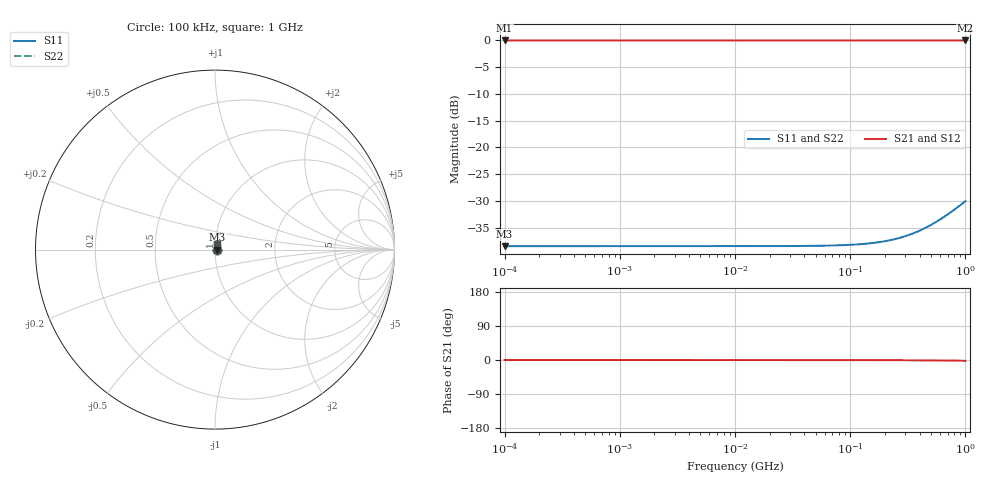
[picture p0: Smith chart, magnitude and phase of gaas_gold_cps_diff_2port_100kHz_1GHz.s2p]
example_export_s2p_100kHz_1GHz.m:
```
% Export differential 2-port S-parameters (.s2p) using txlineRLCGLine.
% Frequency range: 100 kHz .. 1 GHz (logspace).
% Assumptions:
%   - Cpul and Lpul constant with frequency
%   - Gpul = 0
%   - Rpul(f) from skin-depth / penetration model
%   - Port reference impedance Z0 = 100 Ohm (differential)

clear; clc;

% Geometry [m]
s = 20e-6;
t_au = 1e-6;
inner_gap = 50e-6;
g = inner_gap / 2;
h = 1e-6;
lineLength = 1e-3; % [m]

% Materials
eps_r_gaas = 12.9;
sigma_au = 4.10e7; % [S/m]

% Frequency sweep
fmin = 100e3;
fmax = 1e9;
Nfreq = 10000;
freq = logspace(log10(fmin), log10(fmax), Nfreq);

% Make root routines visible
this_file = mfilename('fullpath');
this_dir = fileparts(this_file);
repo_root = fileparts(fileparts(this_dir));
addpath(repo_root);

% Quasi-static C and L (constant over frequency)
qs = cps_single_layer_params(s, g, h, eps_r_gaas);
Cpul = qs.C_F_per_m;
Lpul = qs.Z_Ohm^2 * Cpul;

% Frequency-dependent differential Rpul (1xN)
rac = cps_rpul_matrix_skin(freq, s, t_au, sigma_au);
Rpul = rac.Rpul_Ohm_per_m;

% Export Touchstone
outfile = fullfile(this_dir, 'gaas_gold_cps_diff_2port_100kHz_1GHz.s2p');
out = cps_export_s2p_txlineRLCGLine(outfile, fmin, fmax, Nfreq, lineLength, Cpul, Lpul, Rpul, 0);

% Plot
S = out.S2;
S11_dB = 20 * log10(abs(squeeze(S(1, 1, :))));
S21_dB = 20 * log10(abs(squeeze(S(2, 1, :))));

fig = figure('Visible', 'off');
semilogx(freq, S11_dB, 'LineWidth', 1.3); hold on;
semilogx(freq, S21_dB, 'LineWidth', 1.3);
grid on;
xlabel('Frequency [Hz]');
ylabel('Magnitude [dB]');
title('Differential CPS S-parameters (100 kHz .. 1 GHz, Z0 = 100 Ohm)');
legend('|S11|', '|S21|', 'Location', 'best');

plotfile = fullfile(this_dir, 'gaas_gold_cps_diff_2port_100kHz_1GHz_plot.png');
exportgraphics(fig, plotfile, 'Resolution', 180);
close(fig);

fprintf('Touchstone file written:\n%s\n', out.filename);
fprintf('Plot written:\n%s\n', plotfile);
fprintf('f-range: %.3f kHz .. %.3f GHz, N=%d\n', fmin/1e3, fmax/1e9, Nfreq);
fprintf('Z0 normalization: 100 Ohm\n');
```
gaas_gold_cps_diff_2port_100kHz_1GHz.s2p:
# Hz S RI R 100
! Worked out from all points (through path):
!   10000 points, 100 kHz to 1 GHz, reference 100 ohm
!   highest |S21| = -0.11 dB at 100 kHz (marker M1); lowest = -0.1 dB at 1 GHz (marker M2)
!   lowest |S11| = -38.4 dB at 100 kHz (marker M3), VSWR 1.02, Z = 102 + j0.00059 ohm
!   |S11| at or under -10 dB: start of sweep to end of sweep
!   |S22| runs from -38.4 to -30.0 dB; largest |S21 - S12| = 4.4e-16
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100000  0.012 2.88e-06  0.988 -3.55e-06  0.988 -3.55e-06  0.012 2.88e-06
1.000461e7  0.012 0.000288  0.988 -0.000355  0.988 -0.000355  0.012 0.000288
3.943298e7  0.012 0.00114  0.988 -0.0014  0.988 -0.0014  0.012 0.00114
8.186369e7  0.0121 0.00236  0.9879 -0.00291  0.9879 -0.00291  0.0121 0.00236
1.3916e8  0.0121 0.00401  0.9879 -0.00494  0.9879 -0.00494  0.0121 0.00401
2.106359e8  0.0121 0.00607  0.9879 -0.00748  0.9879 -0.00748  0.0121 0.00607
3.101338e8  0.0121 0.00894  0.9879 -0.011  0.9879 -0.011  0.0121 0.00894
3.718408e8  0.0122 0.0107  0.9878 -0.0132  0.9878 -0.0132  0.0122 0.0107
4.450049e8  0.0123 0.0128  0.9877 -0.0158  0.9877 -0.0158  0.0123 0.0128
6.326742e8  0.0125 0.0182  0.9875 -0.0224  0.9875 -0.0224  0.0125 0.0182
1e9  0.0131 0.0288  0.9869 -0.0355  0.9869 -0.0355  0.0131 0.0288
